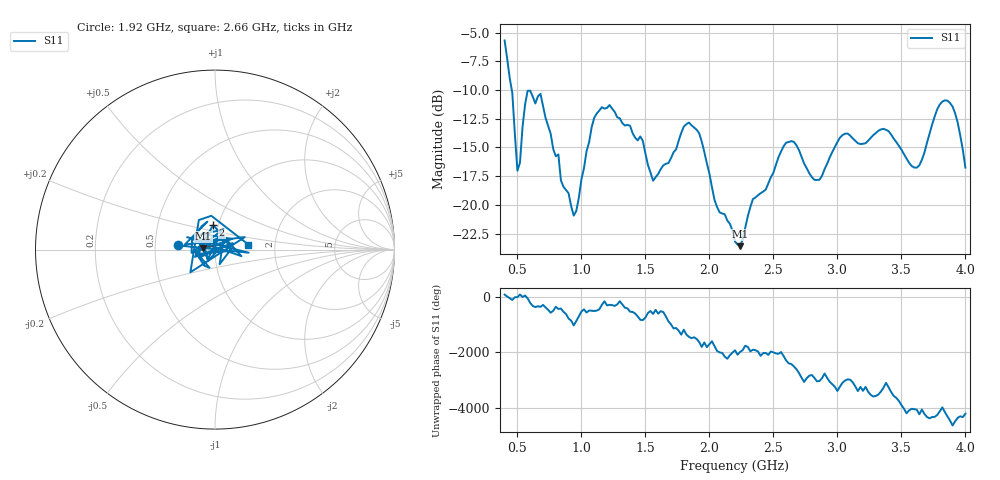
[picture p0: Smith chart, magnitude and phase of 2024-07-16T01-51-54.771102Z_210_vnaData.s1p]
!Created with skrf (http://scikit-rf.org).
# Hz S RI R 50.0
!freq ReS11 ImS11
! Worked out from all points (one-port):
!   181 points, 400 MHz to 4 GHz, reference 50 ohm
!   lowest |S11| = -23.6 dB at 2.24 GHz (marker M1), VSWR 1.14, Z = 43.8 + j0.576 ohm
!   |S11| at or under -10 dB: 456.1 MHz to end of sweep
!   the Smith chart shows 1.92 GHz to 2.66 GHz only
!   S11 on the Smith chart (normalised r, x): 1.92 GHz: 0.66, +0.03; 2 GHz: 0.94, +0.26; 2.66 GHz: 1.45, +0.09
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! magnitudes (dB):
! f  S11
! 400 MHz  -5.7
! 460 MHz  -10.2
! 500 MHz  -17.0
! 580 MHz  -10.1
! 680 MHz  -10.3
! 860 MHz  -18.4
! 940 MHz  -20.9
! 1.1 GHz  -12.4
! 1.22 GHz  -11.3
! 1.3 GHz  -12.5
! 1.48 GHz  -14.4
! 1.56 GHz  -17.9
! 1.76 GHz  -14.4
! 1.84 GHz  -12.8
! 1.92 GHz  -13.8
! 2 GHz  -17.3
! 2.2 GHz  -23.2
! 2.24 GHz  -23.6
! 2.34 GHz  -19.5
! 2.66 GHz  -14.5
! 2.86 GHz  -17.8
! 3.1 GHz  -14.0
! 3.38 GHz  -13.5
! 3.56 GHz  -16.3
! 3.64 GHz  -16.6
! 3.84 GHz  -10.9
! 3.92 GHz  -12.0
! 4 GHz  -16.8
